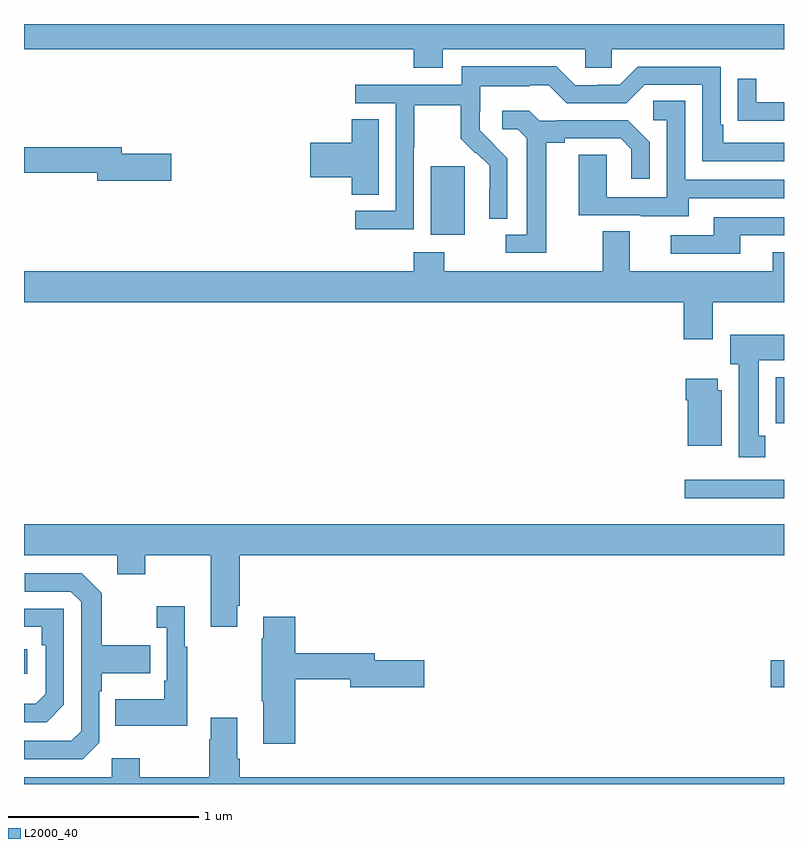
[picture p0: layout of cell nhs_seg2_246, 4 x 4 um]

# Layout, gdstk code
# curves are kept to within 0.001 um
import gdstk
lib = gdstk.Library(unit=1e-6, precision=1e-09)
def R(c, l, rs):  # rectangles x0, y0, x1, y1
    for r in rs: c.add(gdstk.rectangle(r[:2], r[2:], *l))
def P(c, l, *ps):  # polygons
    for p in ps: c.add(gdstk.Polygon(p, *l))
L2000_40 = (2000, 40)

nhs_seg2_246 = lib.new_cell('nhs_seg2_246')
R(nhs_seg2_246, L2000_40, [(126.93,612.31,127,612.452), (123,612.38,123.016,612.51), (126.477,613.304,127,613.401), (126.956,613.7,127,613.942), (125.141,614.69,125.32,615.051)])
P(nhs_seg2_246, L2000_40, [(125.203,615.668),(125.955,615.668),(125.955,615.57),(126.093,615.57),(126.093,615.668),(127,615.668),(127,615.8),(123,615.8),(123,615.668),(125.051,615.668),(125.051,615.569),(125.203,615.569)],
  [(125.052,615.148),(125.055,615.148),(125.055,615.372),(125.299,615.372),(125.299,615.197),(125.376,615.12),(125.379,615.123),(125.45,615.053),(125.45,614.93),(125.448,614.93),(125.448,614.776),(125.544,614.776),(125.544,615.094),(125.398,615.242),(125.398,615.339),(125.4,615.339),(125.4,615.473),(125.663,615.473),(125.663,615.477),(125.763,615.477),(125.856,615.384),(126.171,615.384),(126.267,615.48),(126.57,615.48),(126.57,615.078),(127,615.078),(127,615.174),(126.679,615.174),(126.679,615.271),(126.666,615.271),(126.666,615.576),(126.231,615.576),(126.135,615.48),(126.017,615.48),(126.017,615.477),(125.901,615.477),(125.801,615.577),(125.304,615.577),(125.304,615.48),(124.743,615.48),(124.743,615.384),(124.956,615.384),(124.956,614.817),(124.743,614.817),(124.743,614.719),(125.052,614.719)],
  [(127,615.387),(126.853,615.387),(126.853,615.511),(126.757,615.511),(126.757,615.292),(126.859,615.292),(126.859,615.291),(127,615.291)],
  [(126.499,614.883),(127,614.883),(127,614.979),(126.48,614.979),(126.48,615.395),(126.312,615.395),(126.312,615.294),(126.384,615.294),(126.384,614.889),(126.066,614.889),(126.066,615.113),(125.921,615.113),(125.921,614.793),(126.245,614.793),(126.245,614.789),(126.499,614.789)],
  [(125.749,615.176),(125.845,615.176),(125.845,615.198),(126.14,615.198),(126.197,615.141),(126.197,614.985),(126.294,614.985),(126.294,615.178),(126.178,615.294),(125.806,615.294),(125.806,615.291),(125.712,615.291),(125.66,615.343),(125.517,615.343),(125.517,615.246),(125.598,615.246),(125.645,615.199),(125.645,614.691),(125.535,614.691),(125.535,614.595),(125.749,614.595)],
  [(124.867,615.299),(124.724,615.299),(124.724,615.176),(124.506,615.176),(124.506,614.993),(124.724,614.993),(124.724,614.902),(124.867,614.902)],
  [(123.775,615.116),(123.514,615.116),(123.514,615.152),(123,615.152),(123,615.016),(123.386,615.016),(123.386,614.974),(123.775,614.974)],
  [(126.769,614.688),(127,614.688),(127,614.784),(126.629,614.784),(126.629,614.688),(126.405,614.688),(126.405,614.592),(126.769,614.592)],
  [(126.625,614.336),(127,614.336),(127,614.599),(126.941,614.599),(126.941,614.5),(126.187,614.5),(126.187,614.708),(126.047,614.708),(126.047,614.5),(125.211,614.5),(125.211,614.599),(125.051,614.599),(125.051,614.5),(123,614.5),(123,614.336),(126.473,614.336),(126.473,614.142),(126.625,614.142)],
  [(126.901,613.634),(126.868,613.634),(126.868,614.03),(127,614.03),(127,614.164),(126.716,614.164),(126.716,614.01),(126.761,614.01),(126.761,613.521),(126.901,613.521)],
  [(126.673,613.872),(126.652,613.872),(126.652,613.933),(126.482,613.933),(126.482,613.82),(126.494,613.82),(126.494,613.58),(126.673,613.58)],
  [(124.123,612.739),(124.136,612.739),(124.136,613.004),(127,613.004),(127,613.168),(123,613.168),(123,613.004),(123.491,613.004),(123.491,612.905),(123.639,612.905),(123.639,613.004),(123.983,613.004),(123.983,612.627),(124.123,612.627)],
  [(123.396,612.018),(123.396,612.287),(123.409,612.287),(123.409,612.383),(123.665,612.383),(123.665,612.531),(123.409,612.531),(123.409,612.803),(123.303,612.909),(123.003,612.909),(123.003,612.813),(123.246,612.813),(123.3,612.759),(123.3,612.078),(123.249,612.027),(123,612.027),(123,611.931),(123.309,611.931)],
  [(123.859,612.523),(123.847,612.523),(123.847,612.736),(123.699,612.736),(123.699,612.623),(123.75,612.623),(123.75,612.343),(123.738,612.343),(123.738,612.247),(123.481,612.247),(123.481,612.107),(123.859,612.107)],
  [(123.21,612.216),(123.21,612.723),(123,612.723),(123,612.627),(123.094,612.627),(123.094,612.53),(123.114,612.53),(123.114,612.276),(123.061,612.223),(123,612.223),(123,612.126),(123.12,612.126)],
  [(124.427,612.352),(124.718,612.352),(124.718,612.31),(125.107,612.31),(125.107,612.452),(124.846,612.452),(124.846,612.488),(124.427,612.488),(124.427,612.679),(124.259,612.679),(124.259,612.566),(124.252,612.566),(124.252,612.235),(124.259,612.235),(124.259,612.012),(124.427,612.012)],
  [(127,611.836),(124.136,611.836),(124.136,611.932),(124.123,611.932),(124.123,612.148),(123.983,612.148),(123.983,612.035),(123.976,612.035),(123.976,611.836),(123.609,611.836),(123.609,611.935),(123.462,611.935),(123.462,611.836),(123,611.836),(123,611.8),(127,611.8)])

lib.write_gds('nhs_seg2_246.gds')
